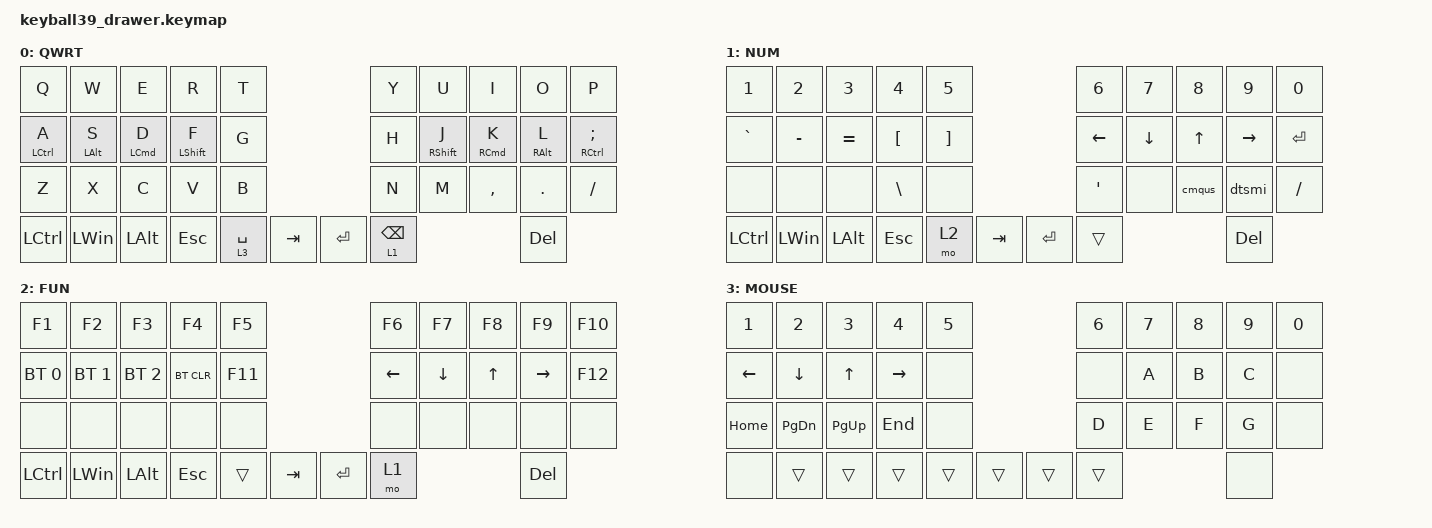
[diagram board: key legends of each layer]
#include <behaviors.dtsi>
#include <dt-bindings/zmk/keys.h>
#include <dt-bindings/zmk/bt.h>

#define DEFAULT 0
#define NUM     1
#define FUN     2
#define MOUSE   3

&lt {
    tapping-term-ms = <240>;
    flavor = "balanced";
    quick-tap-ms = <150>;
};

&mt {
    tapping-term-ms = <200>;
    flavor = "tap-preferred";
    quick-tap-ms = <150>;
};

&caps_word { continue-list = <UNDERSCORE MINUS>; };

/ {
    // custom shift using mod-morph 

    behaviors {
        cmqus: comma_question {
            compatible = "zmk,behavior-mod-morph";
            #binding-cells = <0>;
            bindings = <&kp COMMA>, <&kp QUESTION>;
            mods = <(MOD_LSFT|MOD_RSFT)>;
            label = "COMMA_QUESTION";
        };

        dtsmi: dot_semi {
            compatible = "zmk,behavior-mod-morph";
            #binding-cells = <0>;
            bindings = <&kp DOT>, <&kp SEMICOLON>;
            mods = <(MOD_LSFT|MOD_RSFT)>;
            label = "DOT_SEMI";
        };
    };

    macros {
        Hiragana: Hiragana {
            compatible = "zmk,behavior-macro";
            #binding-cells = <0>;
            bindings = <&kp LC(SPACE)>;
            label = "HIRAGANA";
        };
    };

    keymap {
        compatible = "zmk,keymap";

        default_layer {
            label = "QWRT";
            bindings = <
&kp Q      &kp W         &kp E     &kp R         &kp T                                    &kp Y            &kp U  &kp I      &kp O    &kp P
&mt LCTRL A &mt LALT S   &mt LCMD D &mt LSHFT F  &kp G                                    &kp H            &mt RSHFT J &mt RCMD K &mt RALT L &mt RCTRL SEMI
&kp Z      &kp X         &kp C     &kp V         &kp B                                    &kp N            &kp M  &kp COMMA  &kp DOT  &kp SLASH
&kp LCTRL  &kp LEFT_WIN  &kp LALT  &kp ESCAPE   &lt 3 SPACE  &kp TAB    &kp ENTER  &lt 1 BACKSPACE                             &kp DELETE
            >;
        };

        number_layer {
            label = "NUM";
            bindings = <
&kp N1     &kp N2        &kp N3    &kp N4        &kp N5                                   &kp N6           &kp N7  &kp N8     &kp N9   &kp N0
&kp GRAVE  &kp MINUS     &kp EQUAL &kp LBKT      &kp RBKT                                 &kp LEFT_ARROW   &kp DOWN_ARROW &kp UP_ARROW &kp RIGHT_ARROW &kp ENTER
&none      &none         &none     &kp BACKSLASH &none                                    &kp SINGLE_QUOTE &none  &cmqus     &dtsmi   &kp SLASH
&kp LCTRL  &kp LEFT_WIN  &kp LALT  &kp ESCAPE   &mo 2    &kp TAB    &kp ENTER  &trans                                           &kp DELETE
            >;
        };

        function_layer {
            label = "FUN";
            bindings = <
&kp F1     &kp F2        &kp F3    &kp F4        &kp F5                                   &kp F6           &kp F7  &kp F8     &kp F9   &kp F10
&bt BT_SEL 0 &bt BT_SEL 1 &bt BT_SEL 2 &bt BT_CLR &kp F11                               &kp LEFT_ARROW   &kp DOWN_ARROW &kp UP_ARROW &kp RIGHT_ARROW &kp F12
&none      &none         &none     &none         &none                                    &none            &none  &none      &none    &none
&kp LCTRL  &kp LEFT_WIN  &kp LALT  &kp ESCAPE   &trans   &kp TAB    &kp ENTER  &mo 1                                            &kp DELETE
            >;
        };

        mouse_layer {
            label = "MOUSE";
            bindings = <
&kp N1          &kp N2          &kp N3        &kp N4     &kp N5                  &kp N6         &kp N7         &kp N8        &kp N9          &kp N0
&kp LEFT_ARROW  &kp DOWN_ARROW  &kp UP_ARROW  &kp RIGHT  &none                   &none          &kp A          &kp B         &kp C           &none
&kp HOME        &kp PAGE_DOWN   &kp PAGE_UP   &kp END    &none                   &kp D          &kp E          &kp F         &kp G           &none
&none           &trans          &trans        &trans     &trans  &trans  &trans  &trans                                                     &none
            >;
        };
    };
};
